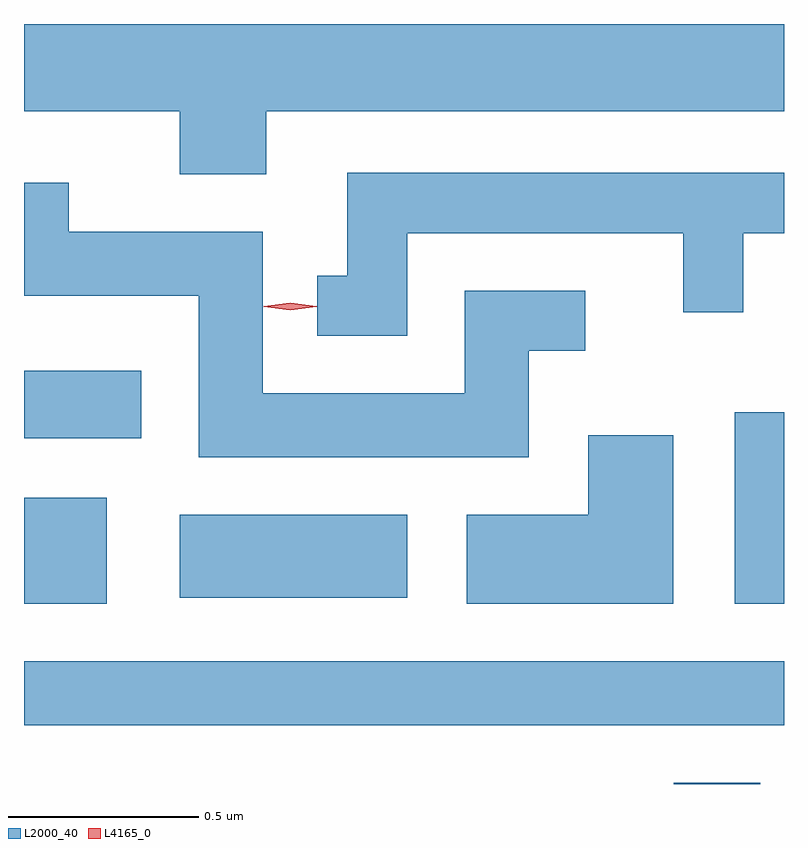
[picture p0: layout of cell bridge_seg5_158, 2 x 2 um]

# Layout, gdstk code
import gdstk
lib = gdstk.Library(unit=1e-6, precision=1e-09)
def R(c, l, rs):  # rectangles x0, y0, x1, y1
    for r in rs: c.add(gdstk.rectangle(r[:2], r[2:], *l))
def P(c, l, *ps):  # polygons
    for p in ps: c.add(gdstk.Polygon(p, *l))
L2000_40 = (2000, 40)
L4165_0 = (4165, 0)

bridge_seg5_158 = lib.new_cell('bridge_seg5_158')
R(bridge_seg5_158, L2000_40, [(1099.001,1401.746,1099.229,1401.749), (1097.291,1401.901,1099.291,1402.069), (1097.291,1402.221,1097.509,1402.499), (1099.161,1402.221,1099.291,1402.724), (1097.701,1402.236,1098.299,1402.454), (1097.291,1402.656,1097.599,1402.834)])
P(bridge_seg5_158, L2000_40, [(1097.929,1403.516),(1099.291,1403.516),(1099.291,1403.746),(1097.291,1403.746),(1097.291,1403.516),(1097.701,1403.516),(1097.701,1403.351),(1097.929,1403.351)],
  [(1098.299,1403.196),(1099.026,1403.196),(1099.026,1402.988),(1099.184,1402.988),(1099.184,1403.196),(1099.291,1403.196),(1099.291,1403.354),(1098.141,1403.354),(1098.141,1403.084),(1098.063,1403.084),(1098.063,1402.926),(1098.299,1402.926)],
  [(1098.619,1402.886),(1098.768,1402.886),(1098.768,1403.044),(1098.451,1403.044),(1098.451,1402.774),(1097.919,1402.774),(1097.919,1403.199),(1097.409,1403.199),(1097.409,1403.328),(1097.291,1403.328),(1097.291,1403.031),(1097.751,1403.031),(1097.751,1402.606),(1098.619,1402.606)],
  [(1098.999,1402.664),(1098.776,1402.664),(1098.776,1402.454),(1098.456,1402.454),(1098.456,1402.221),(1098.999,1402.221)])
P(bridge_seg5_158, L4165_0, [(1097.992,1402.993),(1097.922,1403.002),(1097.922,1403.002),(1097.922,1403.003),(1097.992,1403.013),(1098.061,1403.003),(1098.061,1403.003),(1098.061,1403.002)])

lib.write_gds('bridge_seg5_158.gds')
